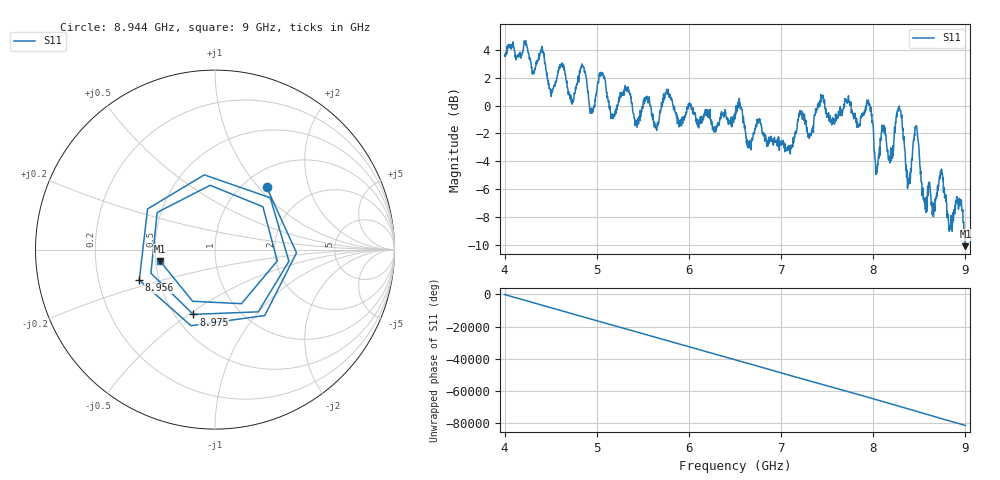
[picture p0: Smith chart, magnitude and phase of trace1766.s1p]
! Created with skrf 1.8.0 (http://scikit-rf.org).
# Hz S RI R 50.0
!freq ReS11 ImS11
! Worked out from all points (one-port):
!   1601 points, 4 GHz to 9 GHz, reference 50 ohm
!   lowest |S11| = -10.1 dB at 9 GHz (marker M1), VSWR 1.91, Z = 26.4 - j3.72 ohm
!   |S11| at or under -10 dB: 8.996634 GHz to end of sweep
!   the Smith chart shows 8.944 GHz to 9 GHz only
!   S11 on the Smith chart (normalised r, x): 8.944 GHz: 1.27, +1.11; 8.956 GHz: 0.39, -0.17; 8.975 GHz: 0.62, -0.52; 9 GHz: 0.53, -0.07
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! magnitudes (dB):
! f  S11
! 4 GHz  3.6
! 4.406 GHz  4.0
! 4.506 GHz  0.7
! 4.625 GHz  2.9
! 4.725 GHz  0.2
! 4.847 GHz  2.9
! 4.944 GHz  -0.4
! 5.05 GHz  2.3
! 5.172 GHz  -0.9
! 5.25 GHz  0.5
! 5.875 GHz  -1.3
! 6.5 GHz  -0.6
! 7.125 GHz  -3.0
! 7.75 GHz  0.3
! 7.953 GHz  0.2
! 8.038 GHz  -4.5
! 8.112 GHz  -1.5
! 8.194 GHz  -4.0
! 8.288 GHz  -0.3
! 8.375 GHz  -5.6
! 8.466 GHz  -1.5
! 8.559 GHz  -7.0
! 8.734 GHz  -4.7
! 8.834 GHz  -8.8
! 8.944 GHz  -6.9
! 8.956 GHz  -6.8
! 8.975 GHz  -8.4
! 9 GHz  -10.1
